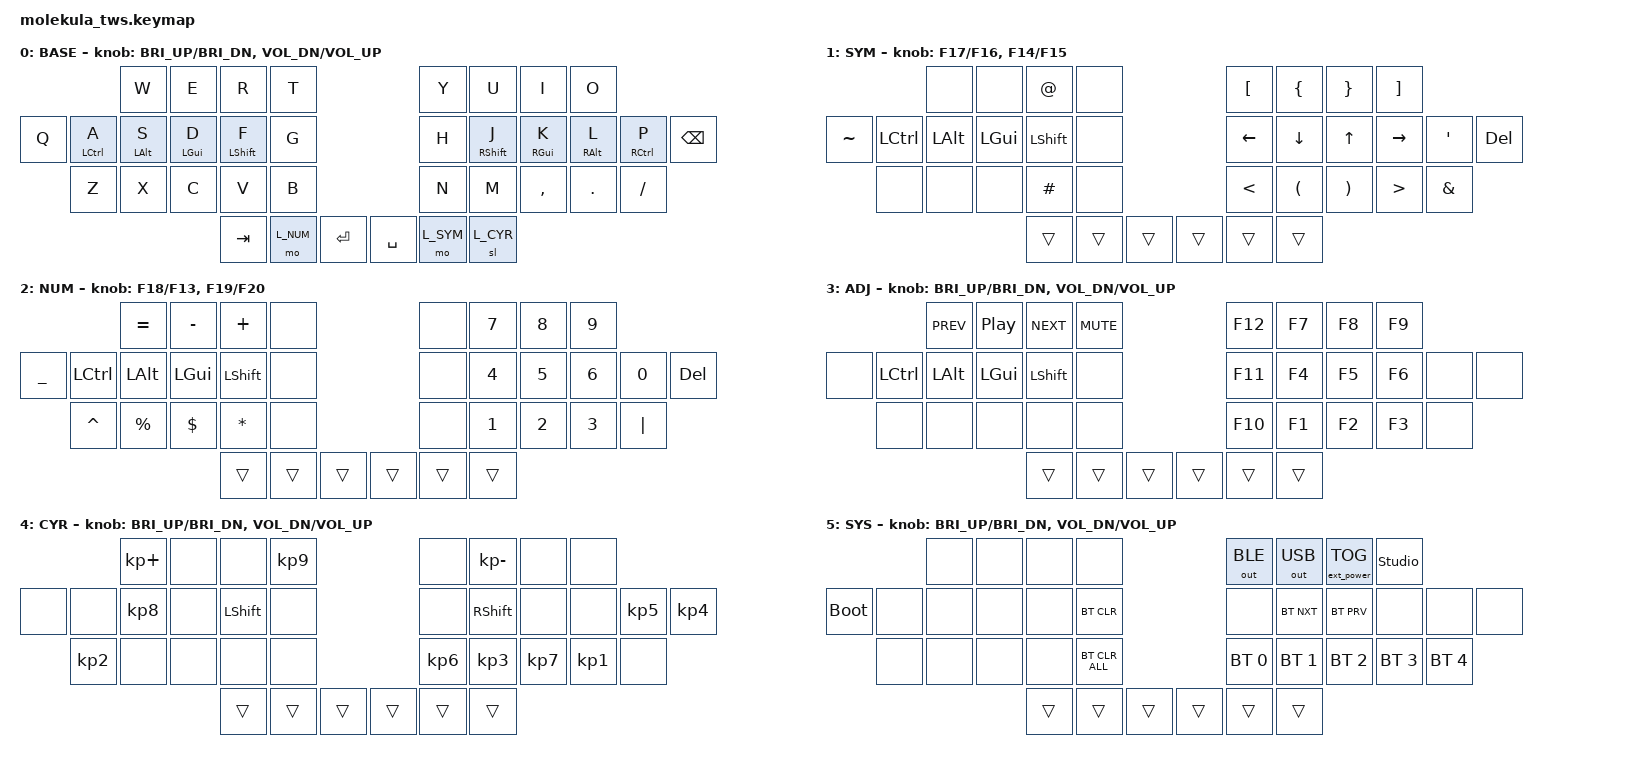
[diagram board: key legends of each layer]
#include <behaviors.dtsi>
#include <dt-bindings/zmk/keys.h>
#include <dt-bindings/zmk/bt.h>
#include <dt-bindings/zmk/outputs.h>
#include <dt-bindings/zmk/ext_power.h>


#define L_BASE 0
#define L_SYM  1
#define L_NUM  2
#define L_ADJ  3
#define L_CYR  4
#define L_SYS  5

/ {
    behaviors {
        hrm: home_row_mod {
            compatible = "zmk,behavior-hold-tap";
            #binding-cells = <2>;
            flavor = "tap-preferred";
            tapping-term-ms = <180>;
            quick-tap-ms = <0>;
            bindings = <&kp>, <&kp>;
            display-name = "Home Row Mod";
        };
    };

    conditional_layers {
        compatible = "zmk,conditional-layers";

        adjust_layer {
            if-layers = <L_SYM L_NUM>;
            then-layer = <L_ADJ>;
        };
    };

    combos {
        compatible = "zmk,combos";

        // U + I = Escape (positions 5 and 6)
        combo_ui_esc {
            timeout-ms = <50>;
            key-positions = <5 6>;
            bindings = <&kp ESC>;
        };

        //// F + J = Caps Lock (positions 12 and 15)
        //combo_fj_caps {
        //    timeout-ms = <50>;
        //    key-positions = <12 15>;
        //    bindings = <&kp CAPS>;
        //};

        // L + P = Quote / Apostrophe (positions 17 and 18)
        combo_lp_quote {
            timeout-ms = <50>;
            key-positions = <17 18>;
            bindings = <&kp SQT>;
        };

        // L_NUM + L_CYR thumbs = L_SYS Admin / Sys Layer (positions 31 and 35)
        combo_num_cyr_sys {
            timeout-ms = <300>;
            key-positions = <31 35>;
            bindings = <&mo L_SYS>;
        };
    };

    keymap {
        compatible = "zmk,keymap";

// Diagram legend: — = disabled (&none); ▽ = transparent (&trans), resolved on lower active layers.
// mo = momentary layer; sl = sticky layer; home-row modifier/key = hold modifier / tap key.
// Thumb positions are zero-based and run left-to-right: [30 31 32] [33 34 35].

// ▄▄▄▄▄▄▄▄▄▄▄▄▄▄▄▄▄▄▄▄▄▄▄▄▄▄▄▄▄▄▄▄▄▄▄▄▄▄▄▄▄▄▄▄▄▄▄▄▄▄▄▄▄▄▄▄▄▄▄▄▄▄▄▄▄▄▄▄▄▄▄▄▄▄▄▄▄▄▄▄▄▄▄▄▄▄▄▄▄▄▄▄▄▄▄▄▄▄▄▄▄▄▄▄▄▄▄▄▄▄▄▄▄▄▄▄▄▄▄▄▄▄▄▄▄▄▄▄▄▄▄▄▄▄▄▄▄▄▄▄▄▄▄▄▄▄▄▄▄▄▄▄▄▄▄▄▄▄▄▄▄▄▄▄▄▄▄▄▄▄▄▄▄▄▄▄▄▄▄▄▄▄▄▄▄▄▄▄▄▄▄▄▄▄▄▄▄▄▄▄▄▄▄▄▄▄▄▄▄▄

// ┏━━━━━━━━━━━━━━━━━━━━━━━━━━━━━━━━━━━━━━━┓
// BASE
// ┗━━━━━━━━━━━━━━━━━━━━━━━━━━━━━━━━━━━━━━━┛
//                                                 ┏━━━━━━━━━┳━━━━━━━━━┳━━━━━━━━━┳━━━━━━━━━┓                      ┏━━━━━━━━━┳━━━━━━━━━┳━━━━━━━━━┳━━━━━━━━━┓
//                                                 ┃    W    ┃    E    ┃    R    ┃    T    ┃ ╭───────╮  ╭───────╮ ┃    Y    ┃    U    ┃    I    ┃    O    ┃
//                             ┏━━━━━━━━━┳━━━━━━━━━╋━━━━━━━━━╋━━━━━━━━━╋━━━━━━━━━╋━━━━━━━━━┫ │  INC  │  │  INC  │ ┣━━━━━━━━━╋━━━━━━━━━╋━━━━━━━━━╋━━━━━━━━━╋━━━━━━━━━┳━━━━━━━━━┓
//                             ┃    Q    ┃   ⌃/A   ┃   ⌥/S   ┃   ⌘/D   ┃   ⇧/F   ┃    G    ┃ │ ENC L │  │ ENC R │ ┃    H    ┃   ⇧/J   ┃   ⌘/K   ┃   ⌥/L   ┃   ⌃/P   ┃    ⌫    ┃
//                             ┗━━━━━━━━━╋━━━━━━━━━╋━━━━━━━━━╋━━━━━━━━━╋━━━━━━━━━╋━━━━━━━━━┫ │  DEC  │  │  DEC  │ ┣━━━━━━━━━╋━━━━━━━━━╋━━━━━━━━━╋━━━━━━━━━╋━━━━━━━━━╋━━━━━━━━━┛
//                                       ┃    Z    ┃    X    ┃    C    ┃    V    ┃    B    ┃ ╰───────╯  ╰───────╯ ┃    N    ┃    M    ┃    ,    ┃    .    ┃    /    ┃
//                                       ┗━━━━━━━━━┻━━━━━━━━━┻━━━━━━━━━╋━━━━━━━━━╋━━━━━━━━━╋━━━━━━━━━┓  ┏━━━━━━━━━╋━━━━━━━━━╋━━━━━━━━━╋━━━━━━━━━┻━━━━━━━━━┻━━━━━━━━━┛
//                                                                     ┃   Tab   ┃  mo NUM ┃  Enter  ┃  ┃  Space  ┃  mo SYM ┃  sl CYR ┃
//                                                                     ┗━━━━━━━━━┻━━━━━━━━━┻━━━━━━━━━┛  ┗━━━━━━━━━┻━━━━━━━━━┻━━━━━━━━━┛
// Activate: Default layer.
// Encoders: L inc=C_BRI_UP, dec=C_BRI_DN; R inc=C_VOL_DN, dec=C_VOL_UP.

        base_layer {
            display-name = "BASE";

            bindings = <
//                             ┏━━━━━━━━━━━━━┳━━━━━━━━━━━━━┳━━━━━━━━━━━━━┳━━━━━━━━━━━━━┓                              ┏━━━━━━━━━━━━━┳━━━━━━━━━━━━━┳━━━━━━━━━━━━━┳━━━━━━━━━━━━━┓
                                    &kp W         &kp E         &kp R         &kp T                                        &kp Y         &kp U         &kp I         &kp O
// ┏━━━━━━━━━━━━━┳━━━━━━━━━━━━━╋━━━━━━━━━━━━━╋━━━━━━━━━━━━━╋━━━━━━━━━━━━━╋━━━━━━━━━━━━━┫                              ┣━━━━━━━━━━━━━╋━━━━━━━━━━━━━╋━━━━━━━━━━━━━╋━━━━━━━━━━━━━╋━━━━━━━━━━━━━┳━━━━━━━━━━━━━┓
        &kp Q     &hrm LCTRL A   &hrm LALT S   &hrm LGUI D   &hrm LSHFT F     &kp G                                        &kp H     &hrm RSHFT J   &hrm RGUI K   &hrm RALT L  &hrm RCTRL P     &kp BSPC
// ┗━━━━━━━━━━━━━╋━━━━━━━━━━━━━╋━━━━━━━━━━━━━╋━━━━━━━━━━━━━╋━━━━━━━━━━━━━╋━━━━━━━━━━━━━┫                              ┣━━━━━━━━━━━━━╋━━━━━━━━━━━━━╋━━━━━━━━━━━━━╋━━━━━━━━━━━━━╋━━━━━━━━━━━━━╋━━━━━━━━━━━━━┛
                      &kp Z         &kp X         &kp C         &kp V         &kp B                                        &kp N         &kp M       &kp COMMA      &kp DOT       &kp FSLH
//               ┗━━━━━━━━━━━━━┻━━━━━━━━━━━━━┻━━━━━━━━━━━━━╋━━━━━━━━━━━━━╋━━━━━━━━━━━━━╋━━━━━━━━━━━━━┓  ┏━━━━━━━━━━━━━╋━━━━━━━━━━━━━╋━━━━━━━━━━━━━╋━━━━━━━━━━━━━┻━━━━━━━━━━━━━┻━━━━━━━━━━━━━┛
                                                               &kp TAB        &mo L_NUM   &kp ENTER        &kp SPACE      &mo L_SYM      &sl L_CYR
//                                                         ┗━━━━━━━━━━━━━┻━━━━━━━━━━━━━┻━━━━━━━━━━━━━┛  ┗━━━━━━━━━━━━━┻━━━━━━━━━━━━━┻━━━━━━━━━━━━━┛
            >;

            sensor-bindings = <&inc_dec_kp C_BRI_UP C_BRI_DN &inc_dec_kp C_VOL_DN C_VOL_UP>;
        };

// ▄▄▄▄▄▄▄▄▄▄▄▄▄▄▄▄▄▄▄▄▄▄▄▄▄▄▄▄▄▄▄▄▄▄▄▄▄▄▄▄▄▄▄▄▄▄▄▄▄▄▄▄▄▄▄▄▄▄▄▄▄▄▄▄▄▄▄▄▄▄▄▄▄▄▄▄▄▄▄▄▄▄▄▄▄▄▄▄▄▄▄▄▄▄▄▄▄▄▄▄▄▄▄▄▄▄▄▄▄▄▄▄▄▄▄▄▄▄▄▄▄▄▄▄▄▄▄▄▄▄▄▄▄▄▄▄▄▄▄▄▄▄▄▄▄▄▄▄▄▄▄▄▄▄▄▄▄▄▄▄▄▄▄▄▄▄▄▄▄▄▄▄▄▄▄▄▄▄▄▄▄▄▄▄▄▄▄▄▄▄▄▄▄▄▄▄▄▄▄▄▄▄▄▄▄▄▄▄▄▄

// ┏━━━━━━━━━━━━━━━━━━━━━━━━━━━━━━━━━━━━━━━┓
// SYM
// ┗━━━━━━━━━━━━━━━━━━━━━━━━━━━━━━━━━━━━━━━┛
//                                                 ┏━━━━━━━━━┳━━━━━━━━━┳━━━━━━━━━┳━━━━━━━━━┓                      ┏━━━━━━━━━┳━━━━━━━━━┳━━━━━━━━━┳━━━━━━━━━┓
//                                                 ┃    —    ┃    —    ┃    @    ┃    —    ┃ ╭───────╮  ╭───────╮ ┃    [    ┃    {    ┃    }    ┃    ]    ┃
//                             ┏━━━━━━━━━┳━━━━━━━━━╋━━━━━━━━━╋━━━━━━━━━╋━━━━━━━━━╋━━━━━━━━━┫ │  INC  │  │  INC  │ ┣━━━━━━━━━╋━━━━━━━━━╋━━━━━━━━━╋━━━━━━━━━╋━━━━━━━━━┳━━━━━━━━━┓
//                             ┃    ~    ┃  L Ctrl ┃  L Alt  ┃  L GUI  ┃ L Shift ┃    —    ┃ │ ENC L │  │ ENC R │ ┃    ←    ┃    ↓    ┃    ↑    ┃    →    ┃    '    ┃   Del   ┃
//                             ┗━━━━━━━━━╋━━━━━━━━━╋━━━━━━━━━╋━━━━━━━━━╋━━━━━━━━━╋━━━━━━━━━┫ │  DEC  │  │  DEC  │ ┣━━━━━━━━━╋━━━━━━━━━╋━━━━━━━━━╋━━━━━━━━━╋━━━━━━━━━╋━━━━━━━━━┛
//                                       ┃    —    ┃    —    ┃    —    ┃    #    ┃    —    ┃ ╰───────╯  ╰───────╯ ┃    <    ┃    (    ┃    )    ┃    >    ┃    &    ┃
//                                       ┗━━━━━━━━━┻━━━━━━━━━┻━━━━━━━━━╋━━━━━━━━━╋━━━━━━━━━╋━━━━━━━━━┓  ┏━━━━━━━━━╋━━━━━━━━━╋━━━━━━━━━╋━━━━━━━━━┻━━━━━━━━━┻━━━━━━━━━┛
//                                                                     ┃    ▽    ┃    ▽    ┃    ▽    ┃  ┃    ▽    ┃    ▽    ┃    ▽    ┃
//                                                                     ┗━━━━━━━━━┻━━━━━━━━━┻━━━━━━━━━┛  ┗━━━━━━━━━┻━━━━━━━━━┻━━━━━━━━━┛
// Activate: Hold left-to-right thumb position 34 (mo SYM).
// Encoders: L inc=F17, dec=F16; R inc=F14, dec=F15.

        sym_layer {
            display-name = "SYM";

            bindings = <
//                             ┏━━━━━━━━━━━━━┳━━━━━━━━━━━━━┳━━━━━━━━━━━━━┳━━━━━━━━━━━━━┓                              ┏━━━━━━━━━━━━━┳━━━━━━━━━━━━━┳━━━━━━━━━━━━━┳━━━━━━━━━━━━━┓
                                    &none         &none         &kp AT        &none                                       &kp LBKT      &kp LBRC      &kp RBRC      &kp RBKT
// ┏━━━━━━━━━━━━━┳━━━━━━━━━━━━━╋━━━━━━━━━━━━━╋━━━━━━━━━━━━━╋━━━━━━━━━━━━━╋━━━━━━━━━━━━━┫                              ┣━━━━━━━━━━━━━╋━━━━━━━━━━━━━╋━━━━━━━━━━━━━╋━━━━━━━━━━━━━╋━━━━━━━━━━━━━┳━━━━━━━━━━━━━┓
      &kp TILDE     &kp LCTRL      &kp LALT      &kp LGUI     &kp LSHFT       &none                                       &kp LEFT      &kp DOWN       &kp UP      &kp RIGHT      &kp SQT       &kp DEL
// ┗━━━━━━━━━━━━━╋━━━━━━━━━━━━━╋━━━━━━━━━━━━━╋━━━━━━━━━━━━━╋━━━━━━━━━━━━━╋━━━━━━━━━━━━━┫                              ┣━━━━━━━━━━━━━╋━━━━━━━━━━━━━╋━━━━━━━━━━━━━╋━━━━━━━━━━━━━╋━━━━━━━━━━━━━╋━━━━━━━━━━━━━┛
                      &none         &none         &none        &kp HASH       &none                                        &kp LT       &kp LPAR     &kp RPAR        &kp GT       &kp AMPS
//               ┗━━━━━━━━━━━━━┻━━━━━━━━━━━━━┻━━━━━━━━━━━━━╋━━━━━━━━━━━━━╋━━━━━━━━━━━━━╋━━━━━━━━━━━━━┓  ┏━━━━━━━━━━━━━╋━━━━━━━━━━━━━╋━━━━━━━━━━━━━╋━━━━━━━━━━━━━┻━━━━━━━━━━━━━┻━━━━━━━━━━━━━┛
                                                                &trans        &trans        &trans           &trans       &trans        &trans
//                                                         ┗━━━━━━━━━━━━━┻━━━━━━━━━━━━━┻━━━━━━━━━━━━━┛  ┗━━━━━━━━━━━━━┻━━━━━━━━━━━━━┻━━━━━━━━━━━━━┛
            >;

            sensor-bindings = <&inc_dec_kp F17 F16 &inc_dec_kp F14 F15>;
        };

// ▄▄▄▄▄▄▄▄▄▄▄▄▄▄▄▄▄▄▄▄▄▄▄▄▄▄▄▄▄▄▄▄▄▄▄▄▄▄▄▄▄▄▄▄▄▄▄▄▄▄▄▄▄▄▄▄▄▄▄▄▄▄▄▄▄▄▄▄▄▄▄▄▄▄▄▄▄▄▄▄▄▄▄▄▄▄▄▄▄▄▄▄▄▄▄▄▄▄▄▄▄▄▄▄▄▄▄▄▄▄▄▄▄▄▄▄▄▄▄▄▄▄▄▄▄▄▄▄▄▄▄▄▄▄▄▄▄▄▄▄▄▄▄▄▄▄▄▄▄▄▄▄▄▄▄▄▄▄▄▄▄▄▄▄▄▄▄▄▄▄▄▄▄▄▄▄▄▄▄▄▄▄▄▄▄▄▄▄▄▄▄▄▄▄▄▄▄▄▄▄▄▄▄▄▄▄▄▄▄▄

// ┏━━━━━━━━━━━━━━━━━━━━━━━━━━━━━━━━━━━━━━━┓
// NUM
// ┗━━━━━━━━━━━━━━━━━━━━━━━━━━━━━━━━━━━━━━━┛
//                                                 ┏━━━━━━━━━┳━━━━━━━━━┳━━━━━━━━━┳━━━━━━━━━┓                      ┏━━━━━━━━━┳━━━━━━━━━┳━━━━━━━━━┳━━━━━━━━━┓
//                                                 ┃    =    ┃    -    ┃    +    ┃    —    ┃ ╭───────╮  ╭───────╮ ┃    —    ┃    7    ┃    8    ┃    9    ┃
//                             ┏━━━━━━━━━┳━━━━━━━━━╋━━━━━━━━━╋━━━━━━━━━╋━━━━━━━━━╋━━━━━━━━━┫ │  INC  │  │  INC  │ ┣━━━━━━━━━╋━━━━━━━━━╋━━━━━━━━━╋━━━━━━━━━╋━━━━━━━━━┳━━━━━━━━━┓
//                             ┃    _    ┃  L Ctrl ┃  L Alt  ┃  L GUI  ┃ L Shift ┃    —    ┃ │ ENC L │  │ ENC R │ ┃    —    ┃    4    ┃    5    ┃    6    ┃    0    ┃   Del   ┃
//                             ┗━━━━━━━━━╋━━━━━━━━━╋━━━━━━━━━╋━━━━━━━━━╋━━━━━━━━━╋━━━━━━━━━┫ │  DEC  │  │  DEC  │ ┣━━━━━━━━━╋━━━━━━━━━╋━━━━━━━━━╋━━━━━━━━━╋━━━━━━━━━╋━━━━━━━━━┛
//                                       ┃    ^    ┃    %    ┃    $    ┃    *    ┃    —    ┃ ╰───────╯  ╰───────╯ ┃    —    ┃    1    ┃    2    ┃    3    ┃    |    ┃
//                                       ┗━━━━━━━━━┻━━━━━━━━━┻━━━━━━━━━╋━━━━━━━━━╋━━━━━━━━━╋━━━━━━━━━┓  ┏━━━━━━━━━╋━━━━━━━━━╋━━━━━━━━━╋━━━━━━━━━┻━━━━━━━━━┻━━━━━━━━━┛
//                                                                     ┃    ▽    ┃    ▽    ┃    ▽    ┃  ┃    ▽    ┃    ▽    ┃    ▽    ┃
//                                                                     ┗━━━━━━━━━┻━━━━━━━━━┻━━━━━━━━━┛  ┗━━━━━━━━━┻━━━━━━━━━┻━━━━━━━━━┛
// Activate: Hold left-to-right thumb position 31 (mo NUM).
// Encoders: L inc=F18, dec=F13; R inc=F19, dec=F20.

        num_layer {
            display-name = "NUM";

            bindings = <
//                             ┏━━━━━━━━━━━━━┳━━━━━━━━━━━━━┳━━━━━━━━━━━━━┳━━━━━━━━━━━━━┓                              ┏━━━━━━━━━━━━━┳━━━━━━━━━━━━━┳━━━━━━━━━━━━━┳━━━━━━━━━━━━━┓
                                  &kp EQUAL     &kp MINUS      &kp PLUS       &none                                        &none         &kp N7        &kp N8        &kp N9
// ┏━━━━━━━━━━━━━┳━━━━━━━━━━━━━╋━━━━━━━━━━━━━╋━━━━━━━━━━━━━╋━━━━━━━━━━━━━╋━━━━━━━━━━━━━┫                              ┣━━━━━━━━━━━━━╋━━━━━━━━━━━━━╋━━━━━━━━━━━━━╋━━━━━━━━━━━━━╋━━━━━━━━━━━━━┳━━━━━━━━━━━━━┓
      &kp UNDER     &kp LCTRL      &kp LALT      &kp LGUI     &kp LSHFT       &none                                        &none         &kp N4        &kp N5        &kp N6        &kp N0       &kp DEL
// ┗━━━━━━━━━━━━━╋━━━━━━━━━━━━━╋━━━━━━━━━━━━━╋━━━━━━━━━━━━━╋━━━━━━━━━━━━━╋━━━━━━━━━━━━━┫                              ┣━━━━━━━━━━━━━╋━━━━━━━━━━━━━╋━━━━━━━━━━━━━╋━━━━━━━━━━━━━╋━━━━━━━━━━━━━╋━━━━━━━━━━━━━┛
                    &kp CARET    &kp PERCENT    &kp DOLLAR   &kp ASTERISK     &none                                        &none         &kp N1        &kp N2        &kp N3       &kp PIPE
//               ┗━━━━━━━━━━━━━┻━━━━━━━━━━━━━┻━━━━━━━━━━━━━╋━━━━━━━━━━━━━╋━━━━━━━━━━━━━╋━━━━━━━━━━━━━┓  ┏━━━━━━━━━━━━━╋━━━━━━━━━━━━━╋━━━━━━━━━━━━━╋━━━━━━━━━━━━━┻━━━━━━━━━━━━━┻━━━━━━━━━━━━━┛
                                                                &trans        &trans        &trans           &trans        &trans        &trans
//                                                         ┗━━━━━━━━━━━━━┻━━━━━━━━━━━━━┻━━━━━━━━━━━━━┛  ┗━━━━━━━━━━━━━┻━━━━━━━━━━━━━┻━━━━━━━━━━━━━┛
            >;

            sensor-bindings = <&inc_dec_kp F18 F13 &inc_dec_kp F19 F20>;
        };

// ▄▄▄▄▄▄▄▄▄▄▄▄▄▄▄▄▄▄▄▄▄▄▄▄▄▄▄▄▄▄▄▄▄▄▄▄▄▄▄▄▄▄▄▄▄▄▄▄▄▄▄▄▄▄▄▄▄▄▄▄▄▄▄▄▄▄▄▄▄▄▄▄▄▄▄▄▄▄▄▄▄▄▄▄▄▄▄▄▄▄▄▄▄▄▄▄▄▄▄▄▄▄▄▄▄▄▄▄▄▄▄▄▄▄▄▄▄▄▄▄▄▄▄▄▄▄▄▄▄▄▄▄▄▄▄▄▄▄▄▄▄▄▄▄▄▄▄▄▄▄▄▄▄▄▄▄▄▄▄▄▄▄▄▄▄▄▄▄▄▄▄▄▄▄▄▄▄▄▄▄▄▄▄▄▄▄▄▄▄▄▄▄▄▄▄▄▄▄▄▄▄▄▄▄▄▄▄▄▄▄

// ┏━━━━━━━━━━━━━━━━━━━━━━━━━━━━━━━━━━━━━━━┓
// ADJ
// ┗━━━━━━━━━━━━━━━━━━━━━━━━━━━━━━━━━━━━━━━┛
//                                                 ┏━━━━━━━━━┳━━━━━━━━━┳━━━━━━━━━┳━━━━━━━━━┓                      ┏━━━━━━━━━┳━━━━━━━━━┳━━━━━━━━━┳━━━━━━━━━┓
//                                                 ┃   Prev  ┃Play/Paus┃   Next  ┃   Mute  ┃ ╭───────╮  ╭───────╮ ┃   F12   ┃    F7   ┃    F8   ┃    F9   ┃
//                             ┏━━━━━━━━━┳━━━━━━━━━╋━━━━━━━━━╋━━━━━━━━━╋━━━━━━━━━╋━━━━━━━━━┫ │  INC  │  │  INC  │ ┣━━━━━━━━━╋━━━━━━━━━╋━━━━━━━━━╋━━━━━━━━━╋━━━━━━━━━┳━━━━━━━━━┓
//                             ┃    —    ┃  L Ctrl ┃  L Alt  ┃  L GUI  ┃ L Shift ┃    —    ┃ │ ENC L │  │ ENC R │ ┃   F11   ┃    F4   ┃    F5   ┃    F6   ┃    —    ┃    —    ┃
//                             ┗━━━━━━━━━╋━━━━━━━━━╋━━━━━━━━━╋━━━━━━━━━╋━━━━━━━━━╋━━━━━━━━━┫ │  DEC  │  │  DEC  │ ┣━━━━━━━━━╋━━━━━━━━━╋━━━━━━━━━╋━━━━━━━━━╋━━━━━━━━━╋━━━━━━━━━┛
//                                       ┃    —    ┃    —    ┃    —    ┃    —    ┃    —    ┃ ╰───────╯  ╰───────╯ ┃   F10   ┃    F1   ┃    F2   ┃    F3   ┃    —    ┃
//                                       ┗━━━━━━━━━┻━━━━━━━━━┻━━━━━━━━━╋━━━━━━━━━╋━━━━━━━━━╋━━━━━━━━━┓  ┏━━━━━━━━━╋━━━━━━━━━╋━━━━━━━━━╋━━━━━━━━━┻━━━━━━━━━┻━━━━━━━━━┛
//                                                                     ┃    ▽    ┃    ▽    ┃    ▽    ┃  ┃    ▽    ┃    ▽    ┃    ▽    ┃
//                                                                     ┗━━━━━━━━━┻━━━━━━━━━┻━━━━━━━━━┛  ┗━━━━━━━━━┻━━━━━━━━━┻━━━━━━━━━┛
// Activate: Hold thumb positions 31 + 34 (NUM + SYM conditional layer).
// Encoders: L inc=C_BRI_UP, dec=C_BRI_DN; R inc=C_VOL_DN, dec=C_VOL_UP.

        adj_layer {
            display-name = "ADJ";

            bindings = <
//                             ┏━━━━━━━━━━━━━┳━━━━━━━━━━━━━┳━━━━━━━━━━━━━┳━━━━━━━━━━━━━┓                              ┏━━━━━━━━━━━━━┳━━━━━━━━━━━━━┳━━━━━━━━━━━━━┳━━━━━━━━━━━━━┓
                                 &kp C_PREV      &kp C_PP     &kp C_NEXT   &kp C_MUTE                                     &kp F12        &kp F7        &kp F8        &kp F9
// ┏━━━━━━━━━━━━━┳━━━━━━━━━━━━━╋━━━━━━━━━━━━━╋━━━━━━━━━━━━━╋━━━━━━━━━━━━━╋━━━━━━━━━━━━━┫                              ┣━━━━━━━━━━━━━╋━━━━━━━━━━━━━╋━━━━━━━━━━━━━╋━━━━━━━━━━━━━╋━━━━━━━━━━━━━┳━━━━━━━━━━━━━┓
        &none       &kp LCTRL      &kp LALT      &kp LGUI     &kp LSHFT       &none                                       &kp F11        &kp F4        &kp F5        &kp F6        &none         &none
// ┗━━━━━━━━━━━━━╋━━━━━━━━━━━━━╋━━━━━━━━━━━━━╋━━━━━━━━━━━━━╋━━━━━━━━━━━━━╋━━━━━━━━━━━━━┫                              ┣━━━━━━━━━━━━━╋━━━━━━━━━━━━━╋━━━━━━━━━━━━━╋━━━━━━━━━━━━━╋━━━━━━━━━━━━━╋━━━━━━━━━━━━━┛
                      &none         &none         &none         &none         &none                                       &kp F10        &kp F1        &kp F2        &kp F3        &none
//               ┗━━━━━━━━━━━━━┻━━━━━━━━━━━━━┻━━━━━━━━━━━━━╋━━━━━━━━━━━━━╋━━━━━━━━━━━━━╋━━━━━━━━━━━━━┓  ┏━━━━━━━━━━━━━╋━━━━━━━━━━━━━╋━━━━━━━━━━━━━╋━━━━━━━━━━━━━┻━━━━━━━━━━━━━┻━━━━━━━━━━━━━┛
                                                                &trans        &trans        &trans           &trans        &trans        &trans
//                                                         ┗━━━━━━━━━━━━━┻━━━━━━━━━━━━━┻━━━━━━━━━━━━━┛  ┗━━━━━━━━━━━━━┻━━━━━━━━━━━━━┻━━━━━━━━━━━━━┛
            >;

            sensor-bindings = <&inc_dec_kp C_BRI_UP C_BRI_DN &inc_dec_kp C_VOL_DN C_VOL_UP>;
        };

// ▄▄▄▄▄▄▄▄▄▄▄▄▄▄▄▄▄▄▄▄▄▄▄▄▄▄▄▄▄▄▄▄▄▄▄▄▄▄▄▄▄▄▄▄▄▄▄▄▄▄▄▄▄▄▄▄▄▄▄▄▄▄▄▄▄▄▄▄▄▄▄▄▄▄▄▄▄▄▄▄▄▄▄▄▄▄▄▄▄▄▄▄▄▄▄▄▄▄▄▄▄▄▄▄▄▄▄▄▄▄▄▄▄▄▄▄▄▄▄▄▄▄▄▄▄▄▄▄▄▄▄▄▄▄▄▄▄▄▄▄▄▄▄▄▄▄▄▄▄▄▄▄▄▄▄▄▄▄▄▄▄▄▄▄▄▄▄▄▄▄▄▄▄▄▄▄▄▄▄▄▄▄▄▄▄▄▄▄▄▄▄▄▄▄▄▄▄▄▄▄▄▄▄▄▄▄▄▄▄▄

// ┏━━━━━━━━━━━━━━━━━━━━━━━━━━━━━━━━━━━━━━━┓
// CYR
// ┗━━━━━━━━━━━━━━━━━━━━━━━━━━━━━━━━━━━━━━━┛
//                                                 ┏━━━━━━━━━┳━━━━━━━━━┳━━━━━━━━━┳━━━━━━━━━┓                      ┏━━━━━━━━━┳━━━━━━━━━┳━━━━━━━━━┳━━━━━━━━━┓
//                                                 ┃ KP_PLUS ┃    —    ┃    —    ┃  KP_N9  ┃ ╭───────╮  ╭───────╮ ┃    —    ┃ KP_MINUS┃    —    ┃    —    ┃
//                             ┏━━━━━━━━━┳━━━━━━━━━╋━━━━━━━━━╋━━━━━━━━━╋━━━━━━━━━╋━━━━━━━━━┫ │  INC  │  │  INC  │ ┣━━━━━━━━━╋━━━━━━━━━╋━━━━━━━━━╋━━━━━━━━━╋━━━━━━━━━┳━━━━━━━━━┓
//                             ┃    —    ┃    —    ┃  KP_N8  ┃    —    ┃ L Shift ┃    —    ┃ │ ENC L │  │ ENC R │ ┃    —    ┃ R Shift ┃    —    ┃    —    ┃  KP_N5  ┃  KP_N4  ┃
//                             ┗━━━━━━━━━╋━━━━━━━━━╋━━━━━━━━━╋━━━━━━━━━╋━━━━━━━━━╋━━━━━━━━━┫ │  DEC  │  │  DEC  │ ┣━━━━━━━━━╋━━━━━━━━━╋━━━━━━━━━╋━━━━━━━━━╋━━━━━━━━━╋━━━━━━━━━┛
//                                       ┃  KP_N2  ┃    —    ┃    —    ┃    —    ┃    —    ┃ ╰───────╯  ╰───────╯ ┃  KP_N6  ┃  KP_N3  ┃  KP_N7  ┃  KP_N1  ┃    —    ┃
//                                       ┗━━━━━━━━━┻━━━━━━━━━┻━━━━━━━━━╋━━━━━━━━━╋━━━━━━━━━╋━━━━━━━━━┓  ┏━━━━━━━━━╋━━━━━━━━━╋━━━━━━━━━╋━━━━━━━━━┻━━━━━━━━━┻━━━━━━━━━┛
//                                                                     ┃    ▽    ┃    ▽    ┃    ▽    ┃  ┃    ▽    ┃    ▽    ┃    ▽    ┃
//                                                                     ┗━━━━━━━━━┻━━━━━━━━━┻━━━━━━━━━┛  ┗━━━━━━━━━┻━━━━━━━━━┻━━━━━━━━━┛
// Activate: Thumb position 35 uses sl CYR (sticky layer). KP_* labels are firmware keypad codes; Cyrillic output depends on host remapping.
// Encoders: L inc=C_BRI_UP, dec=C_BRI_DN; R inc=C_VOL_DN, dec=C_VOL_UP.

        cyr_layer {
            display-name = "CYR";

            bindings = <
//                             ┏━━━━━━━━━━━━━┳━━━━━━━━━━━━━┳━━━━━━━━━━━━━┳━━━━━━━━━━━━━┓                              ┏━━━━━━━━━━━━━┳━━━━━━━━━━━━━┳━━━━━━━━━━━━━┳━━━━━━━━━━━━━┓
                                 &kp KP_PLUS      &none         &none       &kp KP_N9                                      &none      &kp KP_MINUS     &none         &none
// ┏━━━━━━━━━━━━━┳━━━━━━━━━━━━━╋━━━━━━━━━━━━━╋━━━━━━━━━━━━━╋━━━━━━━━━━━━━╋━━━━━━━━━━━━━┫                              ┣━━━━━━━━━━━━━╋━━━━━━━━━━━━━╋━━━━━━━━━━━━━╋━━━━━━━━━━━━━╋━━━━━━━━━━━━━┳━━━━━━━━━━━━━┓
        &none         &none       &kp KP_N8       &none       &kp LSHFT       &none                                        &none       &kp RSHFT       &none         &none       &kp KP_N5     &kp KP_N4
// ┗━━━━━━━━━━━━━╋━━━━━━━━━━━━━╋━━━━━━━━━━━━━╋━━━━━━━━━━━━━╋━━━━━━━━━━━━━╋━━━━━━━━━━━━━┫                              ┣━━━━━━━━━━━━━╋━━━━━━━━━━━━━╋━━━━━━━━━━━━━╋━━━━━━━━━━━━━╋━━━━━━━━━━━━━╋━━━━━━━━━━━━━┛
                    &kp KP_N2       &none         &none         &none         &none                                      &kp KP_N6     &kp KP_N3     &kp KP_N7     &kp KP_N1       &none
//               ┗━━━━━━━━━━━━━┻━━━━━━━━━━━━━┻━━━━━━━━━━━━━╋━━━━━━━━━━━━━╋━━━━━━━━━━━━━╋━━━━━━━━━━━━━┓  ┏━━━━━━━━━━━━━╋━━━━━━━━━━━━━╋━━━━━━━━━━━━━╋━━━━━━━━━━━━━┻━━━━━━━━━━━━━┻━━━━━━━━━━━━━┛
                                                                &trans        &trans        &trans           &trans        &trans        &trans
//                                                         ┗━━━━━━━━━━━━━┻━━━━━━━━━━━━━┻━━━━━━━━━━━━━┛  ┗━━━━━━━━━━━━━┻━━━━━━━━━━━━━┻━━━━━━━━━━━━━┛
            >;

            sensor-bindings = <&inc_dec_kp C_BRI_UP C_BRI_DN &inc_dec_kp C_VOL_DN C_VOL_UP>;
        };

// ▄▄▄▄▄▄▄▄▄▄▄▄▄▄▄▄▄▄▄▄▄▄▄▄▄▄▄▄▄▄▄▄▄▄▄▄▄▄▄▄▄▄▄▄▄▄▄▄▄▄▄▄▄▄▄▄▄▄▄▄▄▄▄▄▄▄▄▄▄▄▄▄▄▄▄▄▄▄▄▄▄▄▄▄▄▄▄▄▄▄▄▄▄▄▄▄▄▄▄▄▄▄▄▄▄▄▄▄▄▄▄▄▄▄▄▄▄▄▄▄▄▄▄▄▄▄▄▄▄▄▄▄▄▄▄▄▄▄▄▄▄▄▄▄▄▄▄▄▄▄▄▄▄▄▄▄▄▄▄▄▄▄▄▄▄▄▄▄▄▄▄▄▄▄▄▄▄▄▄▄▄▄▄▄▄▄▄▄▄▄▄▄▄▄▄▄▄▄▄▄▄▄▄▄▄▄▄▄▄▄

// ┏━━━━━━━━━━━━━━━━━━━━━━━━━━━━━━━━━━━━━━━┓
// SYS
// ┗━━━━━━━━━━━━━━━━━━━━━━━━━━━━━━━━━━━━━━━┛
//                                                 ┏━━━━━━━━━┳━━━━━━━━━┳━━━━━━━━━┳━━━━━━━━━┓                      ┏━━━━━━━━━┳━━━━━━━━━┳━━━━━━━━━┳━━━━━━━━━┓
//                                                 ┃    —    ┃    —    ┃    —    ┃    —    ┃ ╭───────╮  ╭───────╮ ┃   BLE   ┃   USB   ┃  EP TOG ┃ST-UNLOCK┃
//                             ┏━━━━━━━━━┳━━━━━━━━━╋━━━━━━━━━╋━━━━━━━━━╋━━━━━━━━━╋━━━━━━━━━┫ │  INC  │  │  INC  │ ┣━━━━━━━━━╋━━━━━━━━━╋━━━━━━━━━╋━━━━━━━━━╋━━━━━━━━━┳━━━━━━━━━┓
//                             ┃   BOOT  ┃    —    ┃    —    ┃    —    ┃    —    ┃  BT CLR ┃ │ ENC L │  │ ENC R │ ┃    —    ┃ BT NEXT ┃ BT PREV ┃    —    ┃    —    ┃    —    ┃
//                             ┗━━━━━━━━━╋━━━━━━━━━╋━━━━━━━━━╋━━━━━━━━━╋━━━━━━━━━╋━━━━━━━━━┫ │  DEC  │  │  DEC  │ ┣━━━━━━━━━╋━━━━━━━━━╋━━━━━━━━━╋━━━━━━━━━╋━━━━━━━━━╋━━━━━━━━━┛
//                                       ┃    —    ┃    —    ┃    —    ┃    —    ┃BTCLR ALL┃ ╰───────╯  ╰───────╯ ┃   BT 0  ┃   BT 1  ┃   BT 2  ┃   BT 3  ┃   BT 4  ┃
//                                       ┗━━━━━━━━━┻━━━━━━━━━┻━━━━━━━━━╋━━━━━━━━━╋━━━━━━━━━╋━━━━━━━━━┓  ┏━━━━━━━━━╋━━━━━━━━━╋━━━━━━━━━╋━━━━━━━━━┻━━━━━━━━━┻━━━━━━━━━┛
//                                                                     ┃    ▽    ┃    ▽    ┃    ▽    ┃  ┃    ▽    ┃    ▽    ┃    ▽    ┃
//                                                                     ┗━━━━━━━━━┻━━━━━━━━━┻━━━━━━━━━┛  ┗━━━━━━━━━┻━━━━━━━━━┻━━━━━━━━━┛
// Activate: Press thumb positions 31 + 35 within 300 ms; hold both (SYS combo). BT 0..4 are the five zero-based host profiles.
// Encoders: L inc=C_BRI_UP, dec=C_BRI_DN; R inc=C_VOL_DN, dec=C_VOL_UP.

        sys_layer {
            display-name = "SYS";

            bindings = <
//                             ┏━━━━━━━━━━━━━┳━━━━━━━━━━━━━┳━━━━━━━━━━━━━┳━━━━━━━━━━━━━┓                              ┏━━━━━━━━━━━━━┳━━━━━━━━━━━━━┳━━━━━━━━━━━━━┳━━━━━━━━━━━━━┓
                                    &none         &none         &none         &none                                    &out OUT_BLE  &out OUT_USB &ext_power EP_TOG &studio_unlock
// ┏━━━━━━━━━━━━━┳━━━━━━━━━━━━━╋━━━━━━━━━━━━━╋━━━━━━━━━━━━━╋━━━━━━━━━━━━━╋━━━━━━━━━━━━━┫                              ┣━━━━━━━━━━━━━╋━━━━━━━━━━━━━╋━━━━━━━━━━━━━╋━━━━━━━━━━━━━╋━━━━━━━━━━━━━┳━━━━━━━━━━━━━┓
     &bootloader      &none         &none         &none         &none      &bt BT_CLR                                      &none      &bt BT_NXT     &bt BT_PRV      &none         &none         &none
// ┗━━━━━━━━━━━━━╋━━━━━━━━━━━━━╋━━━━━━━━━━━━━╋━━━━━━━━━━━━━╋━━━━━━━━━━━━━╋━━━━━━━━━━━━━┫                              ┣━━━━━━━━━━━━━╋━━━━━━━━━━━━━╋━━━━━━━━━━━━━╋━━━━━━━━━━━━━╋━━━━━━━━━━━━━╋━━━━━━━━━━━━━┛
                      &none         &none         &none         &none     &bt BT_CLR_ALL                               &bt BT_SEL 0  &bt BT_SEL 1  &bt BT_SEL 2  &bt BT_SEL 3  &bt BT_SEL 4
//               ┗━━━━━━━━━━━━━┻━━━━━━━━━━━━━┻━━━━━━━━━━━━━╋━━━━━━━━━━━━━╋━━━━━━━━━━━━━╋━━━━━━━━━━━━━┓  ┏━━━━━━━━━━━━━╋━━━━━━━━━━━━━╋━━━━━━━━━━━━━╋━━━━━━━━━━━━━┻━━━━━━━━━━━━━┻━━━━━━━━━━━━━┛
                                                                &trans        &trans       &trans            &trans       &trans        &trans
//                                                         ┗━━━━━━━━━━━━━┻━━━━━━━━━━━━━┻━━━━━━━━━━━━━┛  ┗━━━━━━━━━━━━━┻━━━━━━━━━━━━━┻━━━━━━━━━━━━━┛
            >;

            sensor-bindings = <&inc_dec_kp C_BRI_UP C_BRI_DN &inc_dec_kp C_VOL_DN C_VOL_UP>;
        };

// ▄▄▄▄▄▄▄▄▄▄▄▄▄▄▄▄▄▄▄▄▄▄▄▄▄▄▄▄▄▄▄▄▄▄▄▄▄▄▄▄▄▄▄▄▄▄▄▄▄▄▄▄▄▄▄▄▄▄▄▄▄▄▄▄▄▄▄▄▄▄▄▄▄▄▄▄▄▄▄▄▄▄▄▄▄▄▄▄▄▄▄▄▄▄▄▄▄▄▄▄▄▄▄▄▄▄▄▄▄▄▄▄▄▄▄▄▄▄▄▄▄▄▄▄▄▄▄▄▄▄▄▄▄▄▄▄▄▄▄▄▄▄▄▄▄▄▄▄▄▄▄▄▄▄▄▄▄▄▄▄▄▄▄▄▄▄▄▄▄▄▄▄▄▄▄▄▄▄▄▄▄▄▄▄▄▄▄▄▄▄▄▄▄▄▄▄▄▄▄▄▄▄▄▄▄▄▄▄▄▄

    };

};
